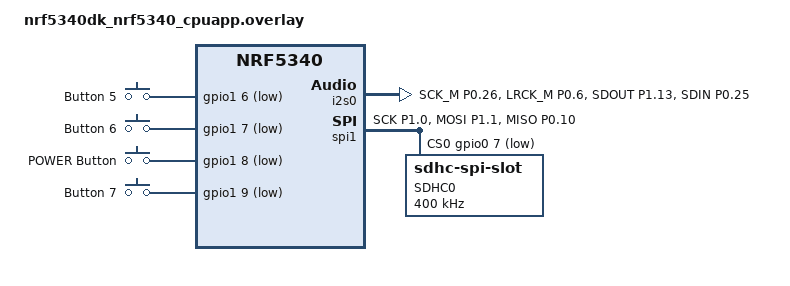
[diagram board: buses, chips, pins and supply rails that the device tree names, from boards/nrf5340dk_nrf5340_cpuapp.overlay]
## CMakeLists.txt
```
cmake_minimum_required(VERSION 3.20.0)

find_package(Zephyr REQUIRED HINTS $ENV{ZEPHYR_BASE})
project(dev_MicMaster_SDFast)

# Include the `include/` directory for headers
target_include_directories(app PRIVATE 
    ${CMAKE_CURRENT_SOURCE_DIR}/include
)

# Add all source files in `src/`
file(GLOB APP_SOURCES src/*.c)

target_sources(app PRIVATE ${APP_SOURCES})

# NORDIC SDK APP END
zephyr_library_include_directories(.)
```

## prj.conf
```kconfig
#
# Copyright (c) 2018 Nordic Semiconductor
#
# SPDX-License-Identifier: LicenseRef-Nordic-5-Clause
#


CONFIG_PRINTK=y
CONFIG_PWM=y
CONFIG_FAULT_DUMP=2

CONFIG_SERIAL=y
# CONFIG_UART_INTERRUPT_DRIVEN=y
CONFIG_UART_ASYNC_API=y
CONFIG_SPI=y
CONFIG_I2S=y 
CONFIG_GPIO=y
CONFIG_I2S_NRFX_RX_BLOCK_COUNT=10
# CONFIG_LOG_TIMESTAMP=n

CONFIG_LOG=y
CONFIG_LOG_DEFAULT_LEVEL=1
CONFIG_LOG_BUFFER_SIZE=8192
CONFIG_LOG_BACKEND_FORMAT_TIMESTAMP=n


# Debugging Needs for the Application


CONFIG_ASSERT=y
CONFIG_DEBUG=y
CONFIG_DEBUG_INFO=y
CONFIG_FAULT_DUMP=2
# CONFIG_CORTEX_M_DEBUG_MONITOR_HOOK=y
# CONFIG_SEGGER_DEBUGMON=y

# Thread Stack Tracking
CONFIG_INIT_STACKS=y
CONFIG_THREAD_STACK_INFO=y

# Related to Sending the Data to Console

CONFIG_RING_BUFFER=y

# About both threads distributing their time

CONFIG_TIMESLICING=y

# UART Asynchronous API aand data sending

CONFIG_UART_ASYNC_API=y

# Configuration options for SD Card and the drive access

#Allows printing floating-points (used to print voltage)
CONFIG_CBPRINTF_FP_SUPPORT=y

#System will reset upon reaching a fatal error, disabled to allow for debugging
CONFIG_RESET_ON_FATAL_ERROR=n

CONFIG_DISK_ACCESS=y
CONFIG_DISK_DRIVERS=y
CONFIG_FAT_FILESYSTEM_ELM=y
CONFIG_FILE_SYSTEM=y
CONFIG_FILE_SYSTEM_SHELL=y

CONFIG_DISK_DRIVER_SDMMC=y
CONFIG_MAIN_STACK_SIZE=2048


# FIFO operation in Zephyr

CONFIG_DATA_FIFO=y

# FIle name operations in Zephyr

CONFIG_FS_FATFS_LFN=y
CONFIG_FS_FATFS_MAX_LFN=255

# regarding Power Setup

CONFIG_PM=y
CONFIG_PM_DEVICE=y
CONFIG_PM_DEVICE_RUNTIME=y

# FIFO operation in Zephyr

CONFIG_DATA_FIFO=y

# FIle name operations in Zephyr

CONFIG_FS_FATFS_LFN=y
CONFIG_FS_FATFS_MAX_LFN=255


# Testing the BLE configuration with SD card working together
CONFIG_BT=y


# CONFIG_LOG_MODE_IMMEDIATE=y
# CONFIG_LOG_MODE_MINIMAL=y
# CONFIG_I2S_LOG_LEVEL=3
# CONFIG_LOG_BUFFER_SIZE=2048  # Adjust size as needed
# CONFIG_LOG_PROCESS_THREAD=y
# CONFIG_LOG_PROCESS_THREAD_STACK_SIZE=2048

# CONFIG_LOG_PRINTK=y
# CONFIG_LOG_MODE_IMMEDIATE=y
# CONFIG_PWM_LOG_LEVEL_DBG=y
# CONFIG_LOG_BUFFER_SIZE=4096
# CONFIG_LOG_PROCESS_THREAD=y
# CONFIG_LOG_PROCESS_THREAD_STACK_SIZE=4096
# CONFIG_LOG_BACKEND_FORMAT_TIMESTAMP=n

# CONFIG_PM_CONTROL=y
# CONFIG_PM_POLICY=y
# CONFIG_PM_DEVICE_RUNTIME_PM=y
# CONFIG_PM_DEVICE_RUNTIME_PM_STATES=y
# CONFIG_PM_DEVICE_RUNTIME_PM_STATE_LOCK=y


# CONFIG_STDOUT_CONSOLE=y
```

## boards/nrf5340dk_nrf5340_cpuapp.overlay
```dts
/*
 * Copyright (c) 2021 Nordic Semiconductor ASA
 *
 * SPDX-License-Identifier: Apache-2.0
 */
 &clock {	
	status = "okay";
};

&gpio_fwd {
    status = "disabled";
};

&pinctrl {	

	i2s0_default_alt: i2s0_default_alt {
		group1 {
			psels = <NRF_PSEL(I2S_SCK_M, 0, 26)>,
				<NRF_PSEL(I2S_LRCK_M, 0, 6)>,  
				<NRF_PSEL(I2S_SDOUT, 1, 13)>,
				<NRF_PSEL(I2S_SDIN, 0, 25)>;
		};
	};
};


&clock {
	hfclkaudio-frequency = <11289600>;
};

i2s_rxtx: &i2s0 {
	status = "okay";
	pinctrl-0 = <&i2s0_default_alt>;
	pinctrl-names = "default";
	clock-source = "ACLK";
};



&spi1 {
    compatible = "nordic,nrf-spim";
	status = "okay";
	pinctrl-0 = <&spi1_default>;
	pinctrl-1 = <&spi1_sleep>;
	pinctrl-names = "default", "sleep";
	cs-gpios = <&gpio0 7 GPIO_ACTIVE_LOW>; //CS for SD	

    sdhc0: sdhc@0 {
        compatible = "zephyr,sdhc-spi-slot";
        reg = <0>;
        status = "okay";
        label = "SDHC0";
        // spi-max-frequency = <24000000>;
		spi-max-frequency = <400000>;
		mmc {
			compatible = "zephyr,sdmmc-disk";
			status = "okay";
			// disk-name = "SD Card";
		};
    };
};

&pinctrl {
	spi1_default: spi1_default {		

		group1 {
			psels = <NRF_PSEL(SPIM_SCK, 1, 0)>,
						<NRF_PSEL(SPIM_MOSI, 1, 1)>,
						<NRF_PSEL(SPIM_MISO, 0, 10)>;
		};
	};

	spi1_sleep: spi1_sleep {
		group1 {			
					psels = <NRF_PSEL(SPIM_SCK, 1, 0)>,
						<NRF_PSEL(SPIM_MOSI, 1, 1)>,
						<NRF_PSEL(SPIM_MISO, 0, 10)>;
				low-power-enable;
		};
	};
};

&gpio1 {
    status = "okay";
};
/ {
    aliases {
        button5 = &button5;
        button6 = &button6;
        button7 = &button7;
        button8 = &button8;
    };
};

/ {
    buttons {
        compatible = "gpio-keys";

        button5: button_5 {
            gpios = <&gpio1 6 (GPIO_PULL_UP | GPIO_ACTIVE_LOW)>;
            label = "Button 5";
        };
        button6: button_6 {
            gpios = <&gpio1 7 (GPIO_PULL_UP | GPIO_ACTIVE_LOW)>;
            label = "Button 6";
        };
        button7: button_7 {
            gpios = <&gpio1 8 (GPIO_PULL_UP | GPIO_ACTIVE_LOW)>;
            label = "POWER Button";
        };
        button8: button_8 {
            gpios = <&gpio1 9 (GPIO_PULL_UP | GPIO_ACTIVE_LOW)>;
            label = "Button 7";
        };
    };
};


// &pwm_led0 {
// 	pwms = <&pwm0 0 20 PWM_POLARITY_NORMAL>;
// };


// group1 {
		// 	psels = <NRF_PSEL(SPIM_SCK, 0, 8)>,
		// 				<NRF_PSEL(SPIM_MOSI, 0, 9)>,
		// 				<NRF_PSEL(SPIM_MISO, 0, 10)>;
		// };

// psels = <NRF_PSEL(SPIM_SCK, 0, 8)>,
			// 			<NRF_PSEL(SPIM_MOSI, 0, 9)>,
			// 			<NRF_PSEL(SPIM_MISO, 0, 10)>;
				// low-power-enable;

// <&gpio0 5 GPIO_ACTIVE_LOW>, //CS for ADC
               
	// //Zephyr does not have built in drive for MCP3004
	// mcp3004: mcp3004@0 {
    //     //compatible = "microchip,mcp3004";
	// 	compatible = "vnd,spi-device";
    //     reg = <0>;
    //     spi-max-frequency = <1000000>;
	// 	label = "mcp3004";
    // };

	// i2c0_default_alt: i2c0_default_alt {
	// 	group1 {
	// 		psels = <NRF_PSEL(TWIM_SDA, 0, 25)>,
	// 			<NRF_PSEL(TWIM_SCL, 0, 26)>;
	// 	};
	// };

	// i2c0_sleep_alt: i2c0_sleep_alt {
	// 	group1 {
	// 		psels = <NRF_PSEL(TWIM_SDA, 0, 25)>,
	// 			<NRF_PSEL(TWIM_SCL, 0, 26)>;
	// 		low-power-enable;
	// 	};
	// };
// &i2c1 {
// 	status = "okay";
// 	pinctrl-0 = <&i2c0_default_alt>;
// 	pinctrl-1 = <&i2c0_sleep_alt>;
// 	pinctrl-names = "default", "sleep";

// 	wm8731: wm8731@1a {
// 		compatible = "wolfson,wm8731";
// 		reg = <0x1a>;
// 	};
// };
```

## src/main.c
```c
/*
Update:

Made solely for reading operations of the SD card
*/

// Consolidating the SD card read and write operations here. 
/*
SD card library broughht in fomr the project of microophone reading datainto the SD card with the help of a FIFO instance.

SDcard.c
SDcard.h

*/

#include <zephyr/kernel.h>
#include <zephyr/device.h>
#include <zephyr/drivers/spi.h>
#include <zephyr/drivers/gpio.h>
#include <zephyr/sys/printk.h>
#include <zephyr/fs/fs.h>
#include <zephyr/storage/disk_access.h>
#include <ff.h>
#include <zephyr/logging/log.h>
#include "SD_card.h"
#define SPI_DEVICE_NODE DT_NODELABEL(spi1)
// microphone functions proptotypes

int init_recording();
int start_recording();
int stop_recording();
void button_pressed(const struct device *dev, struct gpio_callback *cb, uint32_t pins);

//////////////////
K_FIFO_DEFINE(i2s_block_fifo);
bool opened_file = false;
bool mounted_card = false;

bool recoding_init = false;

LOG_MODULE_REGISTER(Main, LOG_LEVEL_INF);

// Define memory structures

// BLOCK_COUNT and BLOCK_SIZE are defiend inside the SD_card.h file. 
// K_MEM_SLAB_DEFINE_STATIC(mem_slab, sizeof(audio_block_t), BLOCK_COUNT, 4);
K_SEM_DEFINE(enable_recording, 0, 1);
K_SEM_DEFINE(data_ready, 0, 1);

// static const struct device *mic;
static bool recording_active = false;

/// All Buttons in the System

#define BUTTON_1_NODE DT_ALIAS(sw0)


static const struct gpio_dt_spec button_1 = GPIO_DT_SPEC_GET_OR(BUTTON_1_NODE, gpios, {0});


// Callback structures for each button
static struct gpio_callback button_cb_data_1;

// GPIO Configuration for Button and LED
#define LED0_NODE DT_ALIAS(led0)


static const struct gpio_dt_spec led = GPIO_DT_SPEC_GET_OR(LED0_NODE, gpios, {0});

// Button Press Callback
void button_pressed_1(const struct device *dev, struct gpio_callback *cb, uint32_t pins) {
    if (pins & BIT(button_1.pin)) {
        
            
            if (recording_active) {

                LOG_INF("Stopping the Recording!! \n");
                
                stop_recording();
            } else {
                LOG_INF("Starting the Recording! \n");
                
                k_sem_give(&enable_recording);
                k_sem_give(&data_ready);


            }
    }
}

    
// Initialize Button and LED


int init_button_led() {
    int ret;
    //////// Button 1 /////////////
    if (!device_is_ready(button_1.port)) {
        LOG_ERR("Button device not ready");
        return -ENODEV;
    }

    ret = gpio_pin_configure_dt(&button_1, GPIO_INPUT);
    if (ret != 0) return ret;

    ret = gpio_pin_interrupt_configure_dt(&button_1, GPIO_INT_EDGE_TO_ACTIVE);
    if (ret != 0) return ret;

    gpio_init_callback(&button_cb_data_1, button_pressed_1, BIT(button_1.pin)); //| BIT(button_2.pin)
                    // | BIT(button_3.pin) | BIT(button_4.pin));
    ret = gpio_add_callback(button_1.port, &button_cb_data_1);
    if (ret != 0) {
        LOG_ERR("Error %d: Failed to add callback on %s pin %d", ret, button_1.port->name, button_1.pin);
        return ret;
    }

    /////////////////// LED ///////////////////////
    ret = device_is_ready(led.port);
    if (!ret) {
        LOG_ERR("Error: LED device %s is not ready", led.port->name);
        return ret;
    }

        ret = gpio_pin_configure_dt(&led, GPIO_OUTPUT_ACTIVE);
        if (ret < 0) {
        LOG_ERR("Error %d: Failed to configure LED pin", ret);
        return ret;
    }
    gpio_pin_set(led.port, led.pin, 0);

    LOG_INF("Set up LED on %s pin %d", led.port->name, led.pin);
    LOG_DBG("Set up LED on %s pin %d", led.port->name, led.pin);
    // LOG_DBG("Set up button at %s pin %d", button_1.port->name, button_1.pin);
        return 0;
}

/* SD Card Reading Operations*/

// once initiatied, the SD card is repeatedly read from and the data read is displayed on the UART terminal

void sd_reading(void) {
        LOG_INF("SD Card Reading Function\n");
    
        k_sem_take(&data_ready, K_FOREVER);
        if (sd_file_open() != 0) {
            LOG_ERR("Failed to open file\n");
            return;
        } else {
            opened_file = true;
            LOG_INF("File Opened Successfully\n");
        }
        // List all the files in the SD card

        
        while (1) {
            LOG_INF("Reading from SD card...\n");
            // Call the function to read from the SD card
            if (sd_file_read_line() != 0) {
                LOG_ERR("Failed to read from SD card");
                break;
            }            
            k_sleep(K_MSEC(10)); // Sleep for 10 milli second before next read
        }        
}

// application function to read the data in successive bytes

 // Function to read bytes from SD card and print to UART
#define SD_DATA_READ_BUFFER_SIZE 100
void sd_read_bytes_and_print(void) {
    uint8_t buffer[SD_DATA_READ_BUFFER_SIZE];
    size_t bytes_read = 0;
    size_t total_bytes = sd_get_file_size(); // Assume this function returns the file size

    if (sd_file_open() != 0) {
        LOG_ERR("Failed to open file for reading");
        return;
    }

    while (bytes_read < total_bytes) {
        
        // separate function to read bytes from the SD card
        /////////////////////////////////////////////////////
        // 1. fixed number of predefined bytes -- v
        // 2. dynamic number of bytes (availability basis)
        int ret = sd_read_fixed_bytes(buffer, SD_DATA_READ_BUFFER_SIZE);
        if (ret <= 0) {
            LOG_ERR("Error reading bytes from SD card.");
            break;
        }
        bytes_read += ret;
        /////////////////////////////////////////////////////
        /////////////////////////////////////////////////////
        // // Print bytes to UART
        // for (int i = 0; i < ret; i++) {
        //     printk("%02X ", buffer[i]);
        // }
        // printk("\n");
        // printk("Read %zd bytes: \n", ret);
    }

    sd_file_close();
    LOG_INF("Finished reading SD card file.");    
}


// Main Function
int main(void) {
        LOG_INF("Starting main thread");
        
        // LOG_INF("Assuming a data file with binary data in the SD card, the program will be reading from it and displaying the data on ther UART terminal \n");

        if (init_button_led() != 0) {
            LOG_ERR("Failed to initialize button");
            return -1;
        }

        // initialize the SPI and SD card           

        if (spi_init() != 0) {
            LOG_ERR("Failed to initialize SPI");
            return -1;
        }        
        
        // List all the files in the SD card
        k_sem_give(&data_ready);

        list_files_on_sd();
        
        // to read and print all the data in the SD card
        // sd_reading();

        // to read the data in bytes and print it on the UART terminal
        sd_read_bytes_and_print();

       
        while (1) {
            k_sleep(K_FOREVER);
        }
        return 0;
    }
    
```

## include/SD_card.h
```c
#ifndef SD_CARD_H
#define SD_CARD_H

#include <zephyr/fs/fs.h>
#include <ff.h>



// Audio Configuration
#define SAMPLE_FREQUENCY 16000
#define SAMPLE_BIT_WIDTH 32
#define BYTES_PER_SAMPLE sizeof(int32_t)
#define NUMBER_OF_CHANNELS 1
#define SAMPLES_PER_BLOCK ((SAMPLE_FREQUENCY /16) * NUMBER_OF_CHANNELS) // 1000 samples per block
#define BLOCK_SIZE (BYTES_PER_SAMPLE * SAMPLES_PER_BLOCK)   // 400 bytes per block
#define BLOCK_COUNT 10  // Memory slab of 10 blocks
#define RECORD_DURATION_MS 4800
#define MAX_SESSIONS 10

typedef struct audio_block_t {
    uint8_t data[BLOCK_SIZE];
    size_t size;
} audio_block_t;


#define SD_CARD_MOUNT_POINT "/SD:"
// #define LOG_FILENAME "adc_log.txt"

extern FATFS fat_fs;
extern struct fs_file_t file;
extern struct fs_mount_t mp;
//  = {
//         .type = FS_FATFS,
//         .mnt_point = SD_CARD_MOUNT_POINT,
// };

// static const struct device *spi_dev;
// static struct spi_cs_control cs_ctrl;

extern char log_entry[100];
extern size_t bytes_written;
extern bool mounted_card;
extern bool opened_file;
extern bool ready_to_save_SD;
extern bool safe_to_close_SD;

// Function prototypes
int spi_init(void);
int sd_file_open(void);
size_t sd_get_file_size(void);
int sd_file_read_line(void);
int sd_read_fixed_bytes(uint8_t *out_data, size_t out_size);
int sd_file_write(uint16_t adc_raw, float voltage);
int sd_card_unmount(void);
void list_files_on_sd(void);
int sd_file_close(void);
int sd_safe_close(void);
#endif // SD_CARD_H
```

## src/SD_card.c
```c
#include <zephyr/drivers/spi.h>
#include <zephyr/fs/fs.h>
#include <zephyr/storage/disk_access.h>
#include <ff.h>
#include <zephyr/logging/log.h>

#include "SD_card.h"

LOG_MODULE_REGISTER(SDCard, LOG_LEVEL_INF);


static const struct device *spi_dev;

#define SPI_DEVICE_NODE DT_NODELABEL(spi1)
#define SD_CS_PIN 7//3 // Chip Select pin for SD card, chosen as P0.07

static struct spi_cs_control cs_ctrl;

#define SPI_OP  SPI_OP_MODE_MASTER |SPI_MODE_CPOL | SPI_MODE_CPHA | SPI_WORD_SET(8) | SPI_LINES_SINGLE

#define SD_CARD_MOUNT_POINT "/SD:"
// #define LOG_FILENAME //"test_read.txt" 
#define LOG_FILENAME "adc_log.txt"


// bool   ready_to_save_SD = false;
 FATFS fat_fs;

//  extern fs_mount_t mp;
 struct fs_mount_t mp = {
        .type = FS_FATFS,
        .mnt_point = SD_CARD_MOUNT_POINT,
};
static int init_sd_card(void);
int spi_init(void){
        
    LOG_INF("Initializing SPI device...\n");
    // Initialize SPI device
    spi_dev = DEVICE_DT_GET(SPI_DEVICE_NODE);
    if (!device_is_ready(spi_dev)) {
        LOG_DBG("SPI device not ready\n");
            return -1;
    } else {
        
        LOG_INF("SPI initialization successful!");
    }

      if (init_sd_card() != 0) {
        LOG_ERR("Failed to initialize SD card\n");
            return -1;
    }
    else{
        LOG_INF("SD card initialization successful!");
        return 0;
    }
}

static int init_sd_card(void)
{
        static const char *disk_pdrv = "SD";
        uint64_t memory_size_mb;
        uint32_t block_count;
        uint32_t block_size;
        int err;

        err = disk_access_init(disk_pdrv);
        if (err != 0) {
                printk("disk_access_init failed. Error code: %d (%s)\n", err, strerror(err));
                return -1;
        }

        if (disk_access_ioctl(disk_pdrv, DISK_IOCTL_GET_SECTOR_COUNT, &block_count)) {
                printk("Unable to get sector count");
                return -1;
        }

        if (disk_access_ioctl(disk_pdrv, DISK_IOCTL_GET_SECTOR_SIZE, &block_size)) {
                printk("Unable to get sector size");
                return -1;
        }

        memory_size_mb = (uint64_t)block_count * block_size / (1024 * 1024);
        printk("Memory Size(MB): %u\n", (uint32_t)memory_size_mb);

        mp.fs_data = &fat_fs;

        err = fs_mount(&mp);
        if (err) {
                printk("Error mounting fat_fs [%d]\n", err);
                return err;
        }
        mounted_card = true;
        printk("Disk mounted.\n");

        // Configure Chip Select
        cs_ctrl.gpio.port = DEVICE_DT_GET(DT_NODELABEL(gpio0));
        cs_ctrl.gpio.pin = SD_CS_PIN;
        cs_ctrl.gpio.dt_flags = GPIO_ACTIVE_LOW;
        cs_ctrl.delay = 0;
        
        k_sleep(K_MSEC(500));  // Wait 500ms before SD init
        
        return 0;
}

struct fs_file_t file;
char log_entry[100];
size_t bytes_written;

 int sd_file_open(void)
{
       
    fs_file_t_init(&file);

    LOG_DBG("File System Initialized. Opening the file now. \n");
    LOG_INF("File System Initialized. Opening the file now. \n");
    
    
    // int err = fs_open(&file, SD_CARD_MOUNT_POINT "/" LOG_FILENAME, FS_O_READ);// | FS_O_APPEND);
    int err = fs_open(&file, SD_CARD_MOUNT_POINT "/" LOG_FILENAME, FS_O_RDWR);    
    if (err) {
        LOG_ERR("Error opening file [%d]\n", err);
        return err;
    }
    LOG_DBG("File opened\n");

    opened_file = true;
    
    return 0;
}

void list_files_on_sd(void) {
    struct fs_dir_t dir;
    struct fs_dirent entry;
    int ret;

    fs_dir_t_init(&dir);

    ret = fs_opendir(&dir, SD_CARD_MOUNT_POINT);
    if (ret != 0) {
        printk("Failed to open SD directory: %d\n", ret);
        return;
    }

    printk("Files on SD card:\n");
    while ((ret = fs_readdir(&dir, &entry)) == 0 && entry.name[0] != 0) {
        printk("  %s%s\n", entry.name, entry.type == FS_DIR_ENTRY_DIR ? "/" : "");
    }

    fs_closedir(&dir);
}
#define MAX_LINE_LENGTH 128
#define MAX_LINES 1000
int sd_file_read_line(void) {
        char read_buf[MAX_LINE_LENGTH];
        
        
        // Check if the file is opened
        if (!opened_file) {
                LOG_INF("File is not opened\n");
            sd_file_open();
            if (!opened_file) {
                LOG_ERR("Failed to open file\n");
                return -1;
            }
        }
        else{
            LOG_INF("File is opened\n");
        }
        
    
        LOG_INF("Reading contents of the file...\n");
    
        // Read line-by-line
        while (true) {
            ssize_t bytes = fs_read(&file, read_buf, sizeof(read_buf) - 1);
            if (bytes <= 0) {
                LOG_INF("End of File Reached or Error\n");

                return -1; 
            }
            
            read_buf[bytes] = '\0'; // Null-terminate string
            printk("%s", read_buf);
        }
    
        fs_close(&file);
        return 0;
    }
// the function should be able to read the data just enough to fil the memory block pasased to it. 
int sd_read_fixed_bytes(uint8_t *out_data, size_t out_size) {
        

    ssize_t bytes_read = fs_read(&file, out_data, out_size - 1);
    if (bytes_read < 0) {
        LOG_ERR("Error reading file: %zd\n", bytes_read);        
        // *out_data = NULL;
        return -EIO;
    }
    // buffer[bytes] = '\0'; // Null-terminate string
    out_data[bytes_read] = '\0'; // Null-terminate string
    printk("%s", out_data);
    

    return bytes_read; // Return the number of bytes read
}
 int sd_card_unmount(){
    int err = fs_unmount(&mp);
    if (err) {
        printk("Error unmounting file system [%d]\n", err);
        return err;
    }
    mounted_card = false;
    LOG_DBG("Disk unmounted.\n");
    return 0;
}
 int sd_file_close(void)
{
        int err = fs_close(&file);
        if (err){
            LOG_ERR("Error closing the file %d. \n", err);
            return err; 
        }
        opened_file=false;
        LOG_INF("Closed the file on SD Card. \n");
 
        return 0;
}


int sd_safe_close(){

        if (opened_file && safe_to_close_SD) {
                sd_file_close();
                opened_file = false;
        }
        if (mounted_card){
                sd_card_unmount();
                mounted_card = false;
        }
        return 0;
}

size_t sd_get_file_size(void) {
    struct fs_dirent file_info;
    int err = fs_stat(SD_CARD_MOUNT_POINT "/" LOG_FILENAME , &file_info);
    if (err == 0) {
        LOG_INF("File size of '%s': %zu bytes", SD_CARD_MOUNT_POINT "/" LOG_FILENAME, file_info.size);
    } else {
        LOG_ERR("Failed to get file info (%d)", err);
    }

    return file_info.size; // Return the size of the file
}


// int sd_file_write(uint16_t adc_raw, float voltage){
    
//     int64_t timestamp_ms = k_uptime_get();  // Get system uptime in ms
//     // snprintf(log_entry, sizeof(log_entry), "Time: %lld ms, ADC raw: %d, Voltage: %.2f V\n", timestamp_ms, adc_raw, voltage);


//     snprintf(log_entry, sizeof(log_entry), "%lld ms, %d, %.2f V\n", timestamp_ms, adc_raw, (double)voltage);
    
//     bytes_written = fs_write(&file, log_entry, strlen(log_entry));
//     if (bytes_written < 0) {
//         LOG_ERR("Error writing to file [%zd]\n", bytes_written);
//         fs_close(&file);
//         return (int)bytes_written;
//     }

//     LOG_DBG("Data logged to SD card\n");
//     return 0;
// }
```
